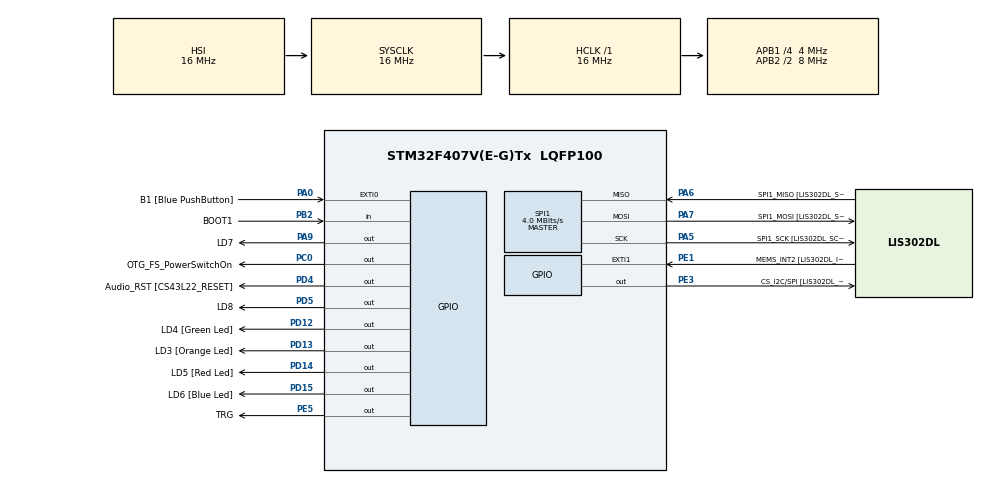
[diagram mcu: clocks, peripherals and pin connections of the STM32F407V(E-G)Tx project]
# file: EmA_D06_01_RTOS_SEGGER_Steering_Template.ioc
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Mcu.Family=STM32F4
Mcu.Name=STM32F407V(E-G)Tx
Mcu.Package=LQFP100
NVIC.EXTI0_IRQn=true\:7\:0\:true\:false\:true\:true\:true\:true
NVIC.PriorityGroup=NVIC_PRIORITYGROUP_4
NVIC.TIM6_DAC_IRQn=true\:5\:0\:true\:false\:true\:true\:true\:true
NVIC.TIM7_IRQn=true\:6\:0\:true\:false\:true\:true\:true\:true
NVIC.TIM8_UP_TIM13_IRQn=true\:15\:0\:false\:false\:true\:false\:true\:true
NVIC.TimeBase=TIM8_UP_TIM13_IRQn
NVIC.TimeBaseIP=TIM8
PA0-WKUP.GPIO_Label=B1 [Blue PushButton]
PA0-WKUP.GPIO_ModeDefaultEXTI=GPIO_MODE_IT_RISING
PA0-WKUP.GPIO_PuPd=GPIO_NOPULL
PA0-WKUP.Signal=GPXTI0
PA10.GPIO_Label=OTG_FS_ID
PA10.GPIO_Mode=GPIO_MODE_AF_PP
PA10.GPIO_PuPd=GPIO_NOPULL
PA10.GPIO_Speed=GPIO_SPEED_FREQ_LOW
PA10.Signal=USB_OTG_FS_ID
PA11.GPIO_Label=OTG_FS_DM
PA11.GPIO_Mode=GPIO_MODE_AF_PP
PA11.GPIO_PuPd=GPIO_NOPULL
PA11.GPIO_Speed=GPIO_SPEED_FREQ_LOW
PA11.Signal=USB_OTG_FS_DM
PA12.GPIO_Label=OTG_FS_DP
PA12.GPIO_Mode=GPIO_MODE_AF_PP
PA12.GPIO_PuPd=GPIO_NOPULL
PA12.GPIO_Speed=GPIO_SPEED_FREQ_LOW
PA12.Signal=USB_OTG_FS_DP
PA13.GPIO_Label=SWDIO
PA13.Mode=Serial_Wire
PA13.Signal=SYS_JTMS-SWDIO
PA14.GPIO_Label=SWCLK
PA14.Mode=Serial_Wire
PA14.Signal=SYS_JTCK-SWCLK
PA4.GPIO_Label=I2S3_WS [CS43L22_LRCK]
PA4.GPIO_Mode=GPIO_MODE_AF_PP
PA4.GPIO_PuPd=GPIO_NOPULL
PA4.GPIO_Speed=GPIO_SPEED_FREQ_LOW
PA4.Signal=I2S3_WS
PA5.GPIO_Label=SPI1_SCK [LIS302DL_SCL/SPC]
PA5.GPIO_Mode=GPIO_MODE_AF_PP
PA5.GPIO_PuPd=GPIO_NOPULL
PA5.GPIO_Speed=GPIO_SPEED_FREQ_LOW
PA5.Mode=Full_Duplex_Master
PA5.Signal=SPI1_SCK
PA6.GPIO_Label=SPI1_MISO [LIS302DL_SDO]
PA6.GPIO_Mode=GPIO_MODE_AF_PP
PA6.GPIO_PuPd=GPIO_NOPULL
PA6.GPIO_Speed=GPIO_SPEED_FREQ_LOW
PA6.Mode=Full_Duplex_Master
PA6.Signal=SPI1_MISO
PA7.GPIO_Label=SPI1_MOSI [LIS302DL_SDA/SDI/SDO]
PA7.GPIO_Mode=GPIO_MODE_AF_PP
PA7.GPIO_PuPd=GPIO_NOPULL
PA7.GPIO_Speed=GPIO_SPEED_FREQ_LOW
PA7.Mode=Full_Duplex_Master
PA7.Signal=SPI1_MOSI
PA9.GPIO_Label=LD7
PA9.Signal=GPIO_Output
PB10.GPIO_Label=CLK_IN [MP45DT02_CLK]
PB10.GPIO_Mode=GPIO_MODE_AF_PP
PB10.GPIO_PuPd=GPIO_NOPULL
PB10.GPIO_Speed=GPIO_SPEED_FREQ_LOW
PB10.Signal=I2S2_CK
PB2.GPIO_Label=BOOT1
PB2.GPIO_Mode=GPIO_MODE_INPUT
PB2.GPIO_PuPd=GPIO_NOPULL
PB2.Signal=GPIO_Input
PB3.GPIO_Label=SWO
PB3.Signal=SYS_JTDO-SWO
PB6.GPIO_Label=Audio_SCL [CS43L22_SCL]
PB6.GPIO_Mode=GPIO_MODE_AF_OD
PB6.GPIO_Pu=GPIO_PULLUP
PB6.GPIO_PuPd=GPIO_NOPULL
PB6.GPIO_Speed=GPIO_SPEED_FREQ_LOW
PB6.Signal=I2C1_SCL
PB9.GPIO_Label=Audio_SDA [CS43L22_SDA]
PB9.GPIO_Mode=GPIO_MODE_AF_OD
PB9.GPIO_Pu=GPIO_PULLUP
PB9.GPIO_PuPd=GPIO_NOPULL
PB9.GPIO_Speed=GPIO_SPEED_FREQ_LOW
PB9.Signal=I2C1_SDA
PC0.GPIO_Label=OTG_FS_PowerSwitchOn
PC0.GPIO_PuPd=GPIO_NOPULL
PC0.GPIO_Speed=GPIO_SPEED_FREQ_LOW
PC0.PinState=GPIO_PIN_SET
PC0.Signal=GPIO_Output
PC10.GPIO_Label=I2S3_SCK [CS43L22_SCLK]
PC10.GPIO_Mode=GPIO_MODE_AF_PP
PC10.GPIO_PuPd=GPIO_NOPULL
PC10.GPIO_Speed=GPIO_SPEED_FREQ_LOW
PC10.Signal=I2S3_CK
PC12.GPIO_Label=I2S3_SD [CS43L22_SDIN]
PC12.GPIO_Mode=GPIO_MODE_AF_PP
PC12.GPIO_PuPd=GPIO_NOPULL
PC12.GPIO_Speed=GPIO_SPEED_FREQ_LOW
PC12.Signal=I2S3_SD
PC14-OSC32_IN.GPIO_Label=PC14-OSC32_IN
PC14-OSC32_IN.Mode=LSE-External-Oscillator
PC14-OSC32_IN.Signal=RCC_OSC32_IN
PC15-OSC32_OUT.GPIO_Label=PC15-OSC32_OUT
PC15-OSC32_OUT.Mode=LSE-External-Oscillator
PC15-OSC32_OUT.Signal=RCC_OSC32_OUT
PC3.GPIO_Label=PDM_OUT [MP45DT02_DOUT]
PC3.GPIO_Mode=GPIO_MODE_AF_PP
PC3.GPIO_PuPd=GPIO_NOPULL
PC3.GPIO_Speed=GPIO_SPEED_FREQ_LOW
PC3.Signal=I2S2_SD
PC7.GPIO_Label=I2S3_MCK [CS43L22_MCLK]
PC7.GPIO_Mode=GPIO_MODE_AF_PP
PC7.GPIO_PuPd=GPIO_NOPULL
PC7.GPIO_Speed=GPIO_SPEED_FREQ_LOW
PC7.Signal=I2S3_MCK
PD12.GPIO_Label=LD4 [Green Led]
PD12.GPIO_PuPd=GPIO_NOPULL
PD12.GPIO_Speed=GPIO_SPEED_FREQ_LOW
PD12.Signal=GPIO_Output
PD13.GPIO_Label=LD3 [Orange Led]
PD13.GPIO_PuPd=GPIO_NOPULL
PD13.GPIO_Speed=GPIO_SPEED_FREQ_LOW
PD13.Signal=GPIO_Output
PD14.GPIO_Label=LD5 [Red Led]
PD14.GPIO_PuPd=GPIO_NOPULL
PD14.GPIO_Speed=GPIO_SPEED_FREQ_LOW
PD14.Signal=GPIO_Output
PD15.GPIO_Label=LD6 [Blue Led]
PD15.GPIO_PuPd=GPIO_NOPULL
PD15.GPIO_Speed=GPIO_SPEED_FREQ_LOW
PD15.Signal=GPIO_Output
PD4.GPIO_Label=Audio_RST [CS43L22_RESET]
PD4.GPIO_PuPd=GPIO_NOPULL
PD4.GPIO_Speed=GPIO_SPEED_FREQ_LOW
PD4.Signal=GPIO_Output
PD5.GPIO_Label=LD8
PD5.GPIO_ModeDefaultOutputPP=GPIO_MODE_OUTPUT_OD
PD5.GPIO_Speed=GPIO_SPEED_FREQ_LOW
PD5.Signal=GPIO_Output
PE1.GPIO_Label=MEMS_INT2 [LIS302DL_INT2]
PE1.GPIO_ModeDefaultEXTI=GPIO_MODE_EVT_RISING
PE1.GPIO_PuPd=GPIO_NOPULL
PE1.Signal=GPXTI1
PE3.GPIO_Label=CS_I2C/SPI [LIS302DL_CS_I2C/SPI]
PE3.GPIO_PuPd=GPIO_NOPULL
PE3.GPIO_Speed=GPIO_SPEED_FREQ_LOW
PE3.Signal=GPIO_Output
PE5.GPIO_Label=TRG
PE5.Signal=GPIO_Output
PH0-OSC_IN.GPIO_Label=PH0-OSC_IN
PH0-OSC_IN.Mode=HSE-External-Oscillator
PH0-OSC_IN.Signal=RCC_OSC_IN
PH1-OSC_OUT.GPIO_Label=PH1-OSC_OUT
PH1-OSC_OUT.Mode=HSE-External-Oscillator
PH1-OSC_OUT.Signal=RCC_OSC_OUT
ProjectManager.HeapSize=0x200
ProjectManager.StackSize=0x400
ProjectManager.TargetToolchain=STM32CubeIDE
RCC.48MHZClocksFreq_Value=48000000
RCC.AHBFreq_Value=16000000
RCC.APB1CLKDivider=RCC_HCLK_DIV4
RCC.APB1Freq_Value=4000000
RCC.APB1TimFreq_Value=8000000
RCC.APB2CLKDivider=RCC_HCLK_DIV2
RCC.APB2Freq_Value=8000000
RCC.APB2TimFreq_Value=16000000
RCC.CortexFreq_Value=16000000
RCC.HCLKFreq_Value=16000000
RCC.HSE_VALUE=8000000
RCC.HSI_VALUE=16000000
RCC.PLLI2SN=50
RCC.PLLM=4
RCC.PLLN=168
RCC.PLLQ=7
RCC.PLLSourceVirtual=RCC_PLLSOURCE_HSE
RCC.SYSCLKFreq_VALUE=16000000
RCC.VCOOutputFreq_Value=336000000
SPI1.BaudRatePrescaler-Full_Duplex_Master=SPI_BAUDRATEPRESCALER_2
SPI1.CalculateBaudRate=4.0 MBits/s
SPI1.CalculateBaudRate-Full_Duplex_Master=42.0 MBits/s
SPI1.Direction=SPI_DIRECTION_2LINES
SPI1.Mode=SPI_MODE_MASTER
SPI1.Mode-Full_Duplex_Master=SPI_MODE_MASTER
SPI1.VirtualType=VM_MASTER
TIM6.AutoReloadPreload=TIM_AUTORELOAD_PRELOAD_ENABLE
TIM6.Period=5000
TIM6.Prescaler=8000
TIM6.TIM_MasterOutputTrigger=TIM_TRGO_RESET
TIM7.AutoReloadPreload=TIM_AUTORELOAD_PRELOAD_ENABLE
TIM7.Period=2000
TIM7.Prescaler=8000
VP_RNG_VS_RNG.Mode=RNG_Activate
VP_SYS_VS_tim8.Mode=TIM8
VP_TIM6_VS_ClockSourceINT.Mode=Enable_Timer
VP_TIM7_VS_ClockSourceINT.Mode=Enable_Timer
board=STM32F407G-DISC1

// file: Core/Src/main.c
/* USER CODE BEGIN Header */
/**
 ******************************************************************************
 * @file           : main.c
 * @brief          : Main program body
 ******************************************************************************
 * @attention
 *
 * <h2><center>&copy; Copyright (c) 2021 STMicroelectronics.
 * All rights reserved.</center></h2>
 *
 * This software component is licensed by ST under Ultimate Liberty license
 * SLA0044, the "License"; You may not use this file except in compliance with
 * the License. You may obtain a copy of the License at:
 *                             www.st.com/SLA0044
 *
 ******************************************************************************
 */
/* USER CODE END Header */
#include "main.h"
#include "rng.h"
#include "spi.h"
#include "tim.h"
#include "gpio.h"

/* USER CODE BEGIN Includes */
#include "FreeRTOS.h"
#include "task.h"
#include "stdio.h"
#include "MEMS_sensor.h"
/* USER CODE END Includes */

/* USER CODE BEGIN PD */
TaskHandle_t task1_Control_handle;
TaskHandle_t task2_MEMS_handle;
TaskHandle_t task3_LED_handle;

QueueHandle_t xQueue_led;
QueueHandle_t xQueue_reading;
/* USER CODE END PD */

/* USER CODE BEGIN PM */
#define STATUS_GAME_INIT 					0
#define STATUS_GAME_WAIT_FOR_START			1
#define STATUS_GAME_WAIT_FOR_START_BLINK 	2
#define STATUS_GAME_START_GAME				3
#define STATUS_RANDOM_TIMER_RUNNING			4
#define STATUS_RANDOM_TIMER_EXPIRED			5
#define STATUS_MEASUREMENT_RUNNING	 		6
#define STATUS_MEASUREMENT_DONE 			7
#define STATUS_INVALID_MEASUREMENT			8

#define LED_OFF 0
#define LED_3 	1
#define LED_4 	2
#define LED_5 	3
#define LED_6 	4
#define LED_7 	5
#define LED_8 	6

#define DIRECTION_INVALID 	LED_OFF
#define DIRECTION_UP 		LED_3
#define DIRECTION_DOWN 		LED_6
#define DIRECTION_LEFT 		LED_4
#define DIRECTION_RIGHT		LED_5

#define MAX_RND_VALUE 4000
#define MIN_RND_VALUE 1000

const int16_t ThresholdHigh = 8000;
const int16_t ThresholdLow = -8000;
const uint32_t ThresholdGen = 8000;
/* USER CODE END PM */

/* USER CODE BEGIN PV */
#define DWT_CTRL	(*(volatile uint32_t*) 0xE0001000)

uint8_t status = STATUS_MEASUREMENT_RUNNING;
/* USER CODE END PV */

void SystemClock_Config(void);
/* USER CODE BEGIN PFP */
void task1(void* parameters);
void ITM_print(const char* msg, const uint8_t len);

extern void SEGGER_UART_init(unsigned long baud);
/* USER CODE END PFP */

/* USER CODE BEGIN 0 */

void start_random_timer(){
	//GET RANDOM NUMBER
	uint32_t rng = 0;
	HAL_RNG_GenerateRandomNumber(&hrng, &rng);
	//MAP 0-65536 => MIN_RND_VALUE-MAX_RND_VALUE
	rng =  (rng%3000);
	rng += 1000;

	//SET PERIOD
	//START TIMER FIRST => INIT AGAIN WITH NEW PERIOD
	HAL_TIM_Base_Start_IT(&htim6);
	htim6.Init.Period = rng;
	//htim6.Instance->CNT = 0;
	//htim6.Instance->ARR  = MAX_RND_VALUE;
	HAL_TIM_Base_Init(&htim6);
	HAL_GPIO_WritePin(TRG_GPIO_Port, TRG_Pin,1);
}

void start_fail_timer(){

	//SET PERIOD
	//START TIMER FIRST => INIT AGAIN WITH NEW PERIOD
	//HAL_TIM_Base_Start_IT(&htim7);
	//htim7.Init.Period = 2000;
//	htim7.Instance->CNT = 0;
	//htim6.Instance->ARR  = MAX_RND_VALUE;
//	HAL_TIM_Base_Init(&htim7);
	HAL_TIM_Base_Start_IT(&htim7);
}

uint32_t get_random_direction(){
	//GET RANDOM NUMBER
	uint32_t rng = 0;
	HAL_RNG_GenerateRandomNumber(&hrng, &rng);
	//MAP 0-65536 => 1-4
	rng =  (((uint16_t)rng) % 4)+1; //RND VALUE = LED INDEX SO +1
	return rng;
}

uint32_t mems_to_direction(){
	int16_t buffer[3] = {0};
	int16_t xval, yval = 0x00;

	  /* Read Acceleration */
	read_mems(&buffer);

	  xval = buffer[0];
	  yval = buffer[2];

	  if((abs(xval))> ThresholdGen)
	  {
	    if(xval > ThresholdHigh)
	    {
	    	return DIRECTION_RIGHT;
	    }
	    else if(xval < ThresholdLow)
	    {
	    	return DIRECTION_LEFT;
	    }

	  }

	  if(abs(yval) > ThresholdGen)
	  {
	    if(yval < ThresholdLow)
	    {
	    	return DIRECTION_DOWN;
	    }
	    else if(yval > ThresholdHigh)
	    {
	    	return DIRECTION_UP;
	    }

	  }

	  return DIRECTION_INVALID;
}

void task2_MEMS_Handler(void* parameters){
	uint32_t read_direction = 0;
	uint32_t last_dir = 0;
	uint32_t trg = 0;
	while (1){
		vTaskDelay(20);
		//GET READING
		read_direction = mems_to_direction();

		if(read_direction != last_dir){
			trg = 0;
			last_dir = read_direction;
		}else{
			trg++;
		}
		//SEND IT
		//SEND MESSAGE ONLY IF 10 SAME READINGS ARE READ
		if(trg>10 && read_direction != DIRECTION_INVALID && uxQueueSpacesAvailable(xQueue_reading) > 0){
				xQueueSendToBack( xQueue_reading,&read_direction,( TickType_t ) 10 );
				trg = 0;
		}
	}
}

void send_led_set_message(uint32_t _led){
	if(uxQueueSpacesAvailable(xQueue_led) > 0){
		xQueueSendToBack( xQueue_led,&_led,( TickType_t ) 10 );
	}
}

void task1_Control_Handler(void* parameters){
	//char msg[64];
	//uint32_t value = 0;
	uint32_t event_val = 0;
	uint32_t event_val_last = 0;
	uint8_t c= 0;
	uint32_t direction = 0;
	uint32_t first_run = 1;
	while (1){

		if(status == STATUS_GAME_INIT){
			//STOP MEASUREMENT TASK
			vTaskSuspend(task2_MEMS_handle);
			//RESET LED
			send_led_set_message(LED_OFF);

			//SET NEW STATUS
			status = STATUS_GAME_WAIT_FOR_START;
		}else if(status == STATUS_GAME_WAIT_FOR_START){
			//WAIT FOR BUTTON NOTIFY EVENT
			send_led_set_message(LED_OFF);
			if(xTaskNotifyWait(0,0, &event_val, portMAX_DELAY) == pdTRUE && event_val == 1){
				send_led_set_message(LED_7);
				status = STATUS_GAME_WAIT_FOR_START_BLINK;
			}
			//THIS STATE WAS ADDED TO RESTART THE GAME AS ENTRY POINT
		}else if(status == STATUS_GAME_WAIT_FOR_START_BLINK){
			send_led_set_message(LED_7);
			//BLINK GREEN LED
			for(c = 0; c < 3; c++){
				send_led_set_message(LED_OFF);
				vTaskDelay( 500/portTICK_PERIOD_MS );
				send_led_set_message(LED_7);
				vTaskDelay( 500/portTICK_PERIOD_MS );
			}
			send_led_set_message(LED_OFF);
			//START RANDOM TIMER
			status = STATUS_GAME_START_GAME;
		}else if(status == STATUS_GAME_START_GAME){
			//SET AND START RANDOM TIMER
			send_led_set_message(LED_OFF);
			start_random_timer();
			status = STATUS_RANDOM_TIMER_RUNNING;

		}else if(status == STATUS_RANDOM_TIMER_RUNNING){
			//WAIT FOR NOTIFY
			if(xTaskNotifyWait(0,0, &event_val, portMAX_DELAY) == pdTRUE && event_val == 3){
				//SET NEW STATE
				status = STATUS_RANDOM_TIMER_EXPIRED;
			}

		}else if(status == STATUS_RANDOM_TIMER_EXPIRED){

			//SWITCH DIRECTION LED ON
			direction = get_random_direction();
			send_led_set_message(direction);
			//START NEW TIMER
			//START MEASUREMENT TASK
			vTaskResume(task2_MEMS_handle);
			//RESET QUEUE
			xQueueReset(xQueue_reading);
			event_val = 0;

			start_fail_timer();
			//SET STATE
			status = STATUS_MEASUREMENT_RUNNING;

		}else if(status == STATUS_MEASUREMENT_RUNNING){
			xQueueReset(xQueue_reading);
			//TIMER TIMEOUT

			if(xTaskNotifyWait(0,0, &event_val, ( TickType_t ) 10 ) == pdTRUE && event_val == 2){
				//SET NEW STATE
				send_led_set_message(LED_8);
				vTaskDelay( 2000/portTICK_PERIOD_MS );
				//RESTART GAME
				status = STATUS_GAME_INIT;
			}
			//GET A VALID MOVEMENT RESULT
			event_val = 0;
			if(xQueueReceive( xQueue_reading,( void * ) &event_val,( TickType_t ) 10 ) == pdTRUE ){
				if(event_val != DIRECTION_INVALID){
					//DISPLAY RESULT
					if(event_val == direction){
						send_led_set_message(LED_7);
					}else{
						send_led_set_message(LED_8);
					}
					//WAIT
					vTaskDelay( 2000/portTICK_PERIOD_MS );
					//RESTART GAME
					status = STATUS_GAME_INIT;

				}
			}
		}

		vTaskDelay(5);

	}
}

void set_leds_off(){
	HAL_GPIO_WritePin(LD3_GPIO_Port, LD3_Pin, 0);
	HAL_GPIO_WritePin(LD4_GPIO_Port, LD4_Pin, 0);
	HAL_GPIO_WritePin(LD5_GPIO_Port, LD5_Pin, 0);
	HAL_GPIO_WritePin(LD6_GPIO_Port, LD6_Pin, 0);
	HAL_GPIO_WritePin(LD7_GPIO_Port, LD7_Pin, 0);
	HAL_GPIO_WritePin(LD8_GPIO_Port, LD8_Pin, 1);
}

void task3_LED_Handler(void* parameters){
	uint32_t led_value = 0;
	uint32_t last = 99;
	while (1){

		if(xQueueReceive( xQueue_led,( void * ) &led_value,( TickType_t ) 10 ) == pdTRUE && led_value != last){
			last = led_value;
			//SWITCH LEDS OFF
			set_leds_off();
			//SET TO NEW VALUE
			switch(led_value){
			case LED_3:{ HAL_GPIO_WritePin(LD3_GPIO_Port, LD3_Pin, 1);break;}
			case LED_4:{ HAL_GPIO_WritePin(LD4_GPIO_Port, LD4_Pin, 1);break;}
			case LED_5:{ HAL_GPIO_WritePin(LD5_GPIO_Port, LD5_Pin, 1);break;}
			case LED_6:{ HAL_GPIO_WritePin(LD6_GPIO_Port, LD6_Pin, 1);break;}
			case LED_7:{ HAL_GPIO_WritePin(LD7_GPIO_Port, LD7_Pin, 1);break;}
			case LED_8:{ HAL_GPIO_WritePin(LD8_GPIO_Port, LD8_Pin, 0);break;}
			default: set_leds_off();break;
			}
		}
		vTaskDelay(10);
	}
}
/* USER CODE END 0 */

int main(void)
{
  /* USER CODE BEGIN 1 */

	BaseType_t status;

  /* USER CODE END 1 */

  /* MCU Configuration--------------------------------------------------------*/

  /* Reset of all peripherals, Initializes the Flash interface and the Systick. */
  HAL_Init();

  /* USER CODE BEGIN Init */
  xQueue_led = xQueueCreate( 1, sizeof( uint32_t ) );
  xQueue_reading = xQueueCreate( 1, sizeof( uint32_t ) );
  uint32_t t = DIRECTION_INVALID;
  xQueueSendToBack( xQueue_reading, &t,( TickType_t ) 10 );
  /* USER CODE END Init */

  /* Configure the system clock */
  SystemClock_Config();

  /* Initialize all configured peripherals */
  MX_GPIO_Init();
  MX_SPI1_Init();
  MX_RNG_Init();
  MX_TIM6_Init();
  MX_TIM7_Init();
  /* USER CODE BEGIN 2 */
	DWT_CTRL |= (1 << 0);

	HAL_TIM_Base_Start_IT(&htim7);
	HAL_TIM_Base_Stop_IT(&htim6);

	SEGGER_SYSVIEW_Conf();
	SEGGER_SYSVIEW_Start();

	//INIT MEMS
	init_mems();
	set_leds_off();
	//START TASKS
	status = xTaskCreate(task2_MEMS_Handler,"task2_MEMS_Handler",200, "task2_MEMS_Handler", 1, &task2_MEMS_handle);
	vTaskSuspend(task2_MEMS_handle);
	configASSERT(status==pdPASS);

	status = xTaskCreate(task1_Control_Handler,"task1_Control_Handler",200, "task1_Control_Handler", 2, &task1_Control_handle);
	configASSERT(status==pdPASS);

	status = xTaskCreate(task3_LED_Handler,"task3_LED_handle",200, "task3_LED_handle", 3, &task3_LED_handle);
	configASSERT(status==pdPASS);

	vTaskStartScheduler();
  /* USER CODE END 2 */

  /* Infinite loop */
	while (1)
	{

	}
}

void SystemClock_Config(void)
{
  RCC_OscInitTypeDef RCC_OscInitStruct = {0};
  RCC_ClkInitTypeDef RCC_ClkInitStruct = {0};

  /** Configure the main internal regulator output voltage
  */
  __HAL_RCC_PWR_CLK_ENABLE();
  __HAL_PWR_VOLTAGESCALING_CONFIG(PWR_REGULATOR_VOLTAGE_SCALE1);
  /** Initializes the RCC Oscillators according to the specified parameters
  * in the RCC_OscInitTypeDef structure.
  */
  RCC_OscInitStruct.OscillatorType = RCC_OSCILLATORTYPE_HSI|RCC_OSCILLATORTYPE_HSE;
  RCC_OscInitStruct.HSEState = RCC_HSE_ON;
  RCC_OscInitStruct.HSIState = RCC_HSI_ON;
  RCC_OscInitStruct.HSICalibrationValue = RCC_HSICALIBRATION_DEFAULT;
  RCC_OscInitStruct.PLL.PLLState = RCC_PLL_ON;
  RCC_OscInitStruct.PLL.PLLSource = RCC_PLLSOURCE_HSE;
  RCC_OscInitStruct.PLL.PLLM = 4;
  RCC_OscInitStruct.PLL.PLLN = 168;
  RCC_OscInitStruct.PLL.PLLP = RCC_PLLP_DIV2;
  RCC_OscInitStruct.PLL.PLLQ = 7;
  if (HAL_RCC_OscConfig(&RCC_OscInitStruct) != HAL_OK)
  {
    Error_Handler();
  }
  /** Initializes the CPU, AHB and APB buses clocks
  */
  RCC_ClkInitStruct.ClockType = RCC_CLOCKTYPE_HCLK|RCC_CLOCKTYPE_SYSCLK
                              |RCC_CLOCKTYPE_PCLK1|RCC_CLOCKTYPE_PCLK2;
  RCC_ClkInitStruct.SYSCLKSource = RCC_SYSCLKSOURCE_HSI;
  RCC_ClkInitStruct.AHBCLKDivider = RCC_SYSCLK_DIV1;
  RCC_ClkInitStruct.APB1CLKDivider = RCC_HCLK_DIV4;
  RCC_ClkInitStruct.APB2CLKDivider = RCC_HCLK_DIV2;

  if (HAL_RCC_ClockConfig(&RCC_ClkInitStruct, FLASH_LATENCY_0) != HAL_OK)
  {
    Error_Handler();
  }
}

void HAL_TIM_PeriodElapsedCallback(TIM_HandleTypeDef *htim)
{
  if (htim->Instance == TIM8) {
    HAL_IncTick();
  }
}

void Error_Handler(void)
{
	__disable_irq();
	while (1)
	{
	}
}

/************************ (C) COPYRIGHT STMicroelectronics *****END OF FILE****/
